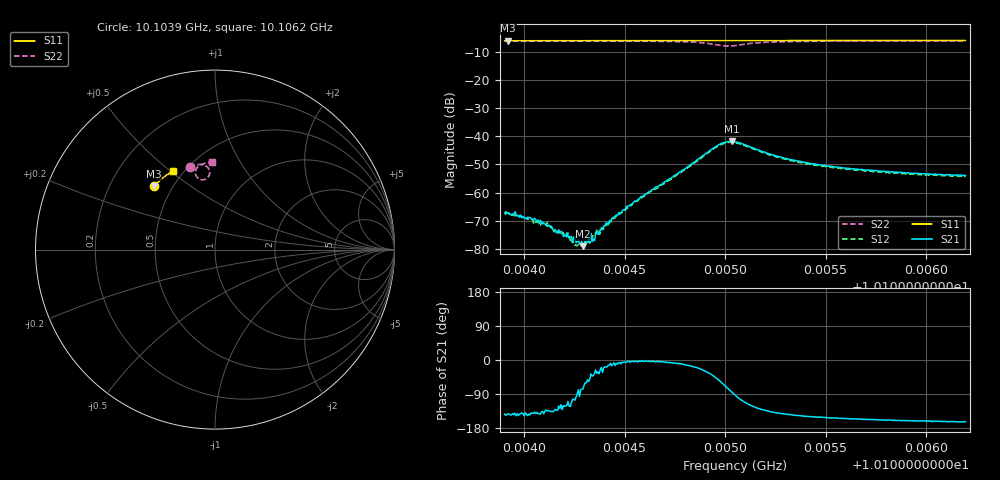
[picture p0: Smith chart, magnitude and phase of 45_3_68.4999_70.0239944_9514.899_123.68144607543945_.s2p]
#  HZ  S  RI  R  50.00
! Rohde & Schwarz Vector Network Analyzer
! Rohde-Schwarz,ZNB20-2Port,1311601062101988,3.16
! Created: UTC 3/20/2024, 4:50:36 PM
! freq[Hz]  re:S11  im:S11  re:S21  im:S21  re:S12  im:S12  re:S22  im:S22
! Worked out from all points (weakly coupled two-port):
!   401 points, 10.1039 GHz to 10.1062 GHz, reference 50 ohm
!   highest |S21| = -41.84 dB at 10.10503 GHz (marker M1); lowest = -79.0 dB at 10.10429 GHz (marker M2)
!   lowest |S11| = -6.2 dB at 10.10392 GHz (marker M3), VSWR 2.93, Z = 19.7 + j18.3 ohm
!   |S11| at or under -10 dB: nowhere
!   |S22| runs from -8.1 to -6.2 dB; largest |S21 - S12| = 0.0008
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1.0103903e10  -0.3426 0.3518  -0.000347 -0.000263  -0.0003 -0.000287  -0.1413 0.4623
1.010392e10  -0.3418 0.3526  -0.00035 -0.000273  -0.000326 -0.000288  -0.1402 0.4626
1.0104092e10  -0.3345 0.3603  -0.000199 -0.000194  -0.000204 -0.000219  -0.128 0.4665
1.0104178e10  -0.3307 0.3641  -0.000118 -0.000152  -9.31e-05 -0.000161  -0.1217 0.4683
1.0104207e10  -0.3294 0.3651  -8.75e-05 -0.000147  -7.94e-05 -0.000157  -0.1196 0.4688
1.0104258e10  -0.3274 0.3674  -1.77e-05 -0.000129  -9.05e-06 -0.000118  -0.1155 0.4698
1.0104287e10  -0.326 0.3685  3e-05 -0.00013  4.02e-05 -0.000134  -0.1133 0.4704
1.0104293e10  -0.3258 0.3687  2.64e-05 -0.000109  6.71e-05 -9.34e-05  -0.1128 0.4704
1.0104327e10  -0.3241 0.3702  8.32e-05 -9.89e-05  7.63e-05 -0.000102  -0.11 0.4711
1.010435e10  -0.3232 0.3712  0.000114 -8.28e-05  0.000138 -0.000114  -0.108 0.4715
1.0104379e10  -0.322 0.3723  0.000197 -9.79e-05  0.000171 -7.05e-05  -0.1057 0.4719
1.0104402e10  -0.321 0.3733  0.000242 -7.87e-05  0.000253 -6.09e-05  -0.1037 0.4723
1.0104505e10  -0.3165 0.3776  0.000516 -5.43e-05  0.000494 -7.11e-06  -0.0941 0.4736
1.0104671e10  -0.3088 0.3844  0.00133 -9.02e-05  0.00128 -8.46e-06  -0.0749 0.4739
1.0104952e10  -0.2953 0.3951  0.0045 -0.00468  0.00473 -0.00405  -0.0309 0.4192
1.0104992e10  -0.2935 0.3965  0.00335 -0.00689  0.00382 -0.00632  -0.0461 0.3966
1.0105032e10  -0.2917 0.3978  0.000822 -0.00805  0.00147 -0.00766  -0.0752 0.3893
1.010505e10  -0.2911 0.3983  -0.000327 -0.00795  0.000338 -0.00767  -0.087 0.3931
1.0105244e10  -0.2821 0.4059  -0.00343 -0.00307  -0.00301 -0.0032  -0.0991 0.4576
1.0105434e10  -0.273 0.413  -0.0028 -0.00164  -0.00255 -0.0018  -0.0772 0.4738
1.0105818e10  -0.2536 0.4263  -0.00216 -0.000862  -0.00198 -0.00101  -0.044 0.4839
1.0106196e10  -0.234 0.4381  -0.0019 -0.000594  -0.00179 -0.000734  -0.0164 0.4876
